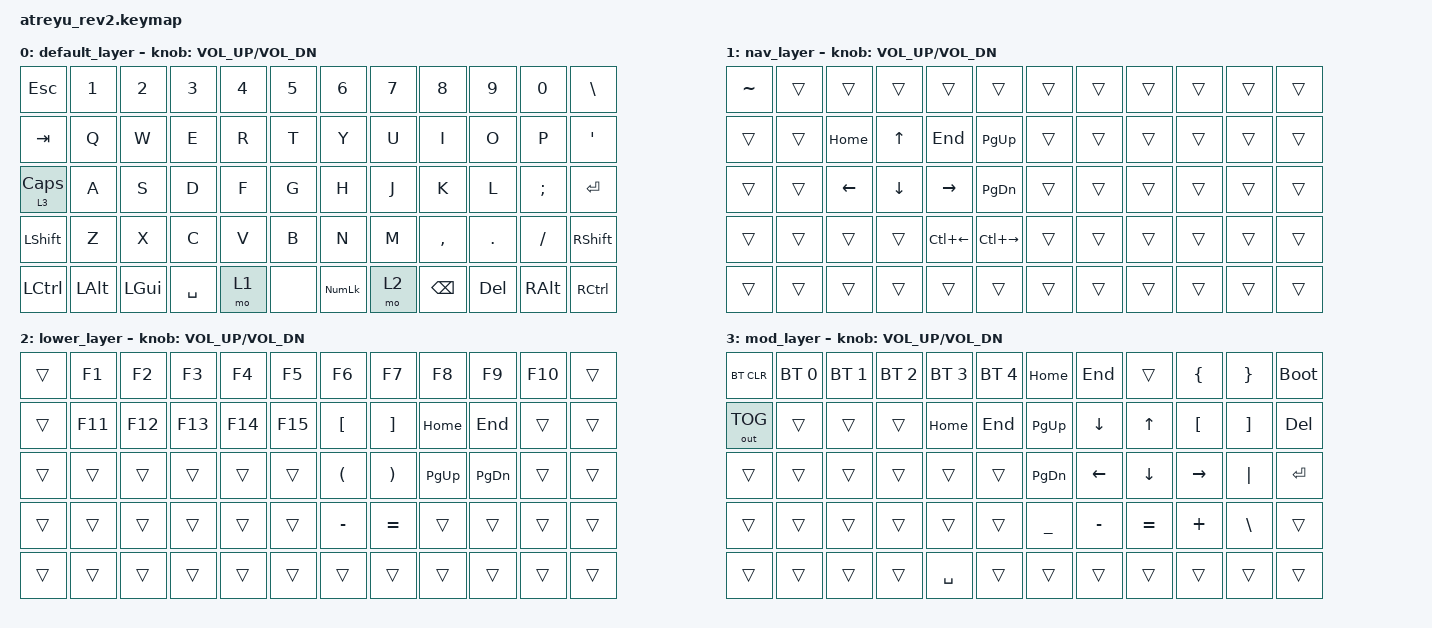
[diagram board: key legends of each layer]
/*
 * Copyright (c) 2020 The ZMK Contributors
 *
 * SPDX-License-Identifier: MIT
 */

#include <behaviors.dtsi>
#include <dt-bindings/zmk/bt.h>
#include <dt-bindings/zmk/keys.h>
#include <dt-bindings/zmk/outputs.h>

/ {
    combos {
        compatible = "zmk,combos";

        combo_c_a_r {
            timeout-ms = <50>;
            key-positions = <31 32>;
            bindings = <&kp LC(LALT)>;
        };

        combo_c_a_l {
            timeout-ms = <50>;
            key-positions = <27 28>;
            bindings = <&kp LC(LALT)>;
        };
    };

    behaviors {
        ctrl_tab: ctrl_tab {
            compatible = "zmk,behavior-mod-morph";
            label = "GUI_CTRL_TAB";
            #binding-cells = <0>;
            bindings = <&kp LC(TAB)>, <&kp LC(LS(TAB))>;

            mods = <(MOD_LGUI)>;

            //		keep-mods = <(MOD_LGUI)>;
        };

        shiftable_tab: shiftable_tab {
            compatible = "zmk,behavior-mod-morph";
            label = "CTRL_TAB";
            #binding-cells = <0>;
            bindings = <&kp TAB >, <&ctrl_tab>;

            mods = <(MOD_LCTL)>;

            //		keep-mods = <(MOD_LCTL)>;
        };

        gresc: grave_escape {
            compatible = "zmk,behavior-mod-morph";
            label = "GRAVE_ESCAPE";
            #binding-cells = <0>;
            bindings = <&kp ESC>, <&kp GRAVE>;

            mods = <(MOD_LGUI)>;
            keep-mods = <(MOD_LGUI)>;
        };

        shiftable_gresc: shiftable_grave_escape {
            compatible = "zmk,behavior-mod-morph";
            label = "SHIFT_GRAVE_ESCAPE";
            #binding-cells = <0>;
            bindings = <&kp ESC>, <&kp LS(GRAVE)>;

            mods = <(MOD_LGUI)>;
            keep-mods = <(MOD_LGUI)>;
        };
    };

    //        sensors: sensors {
    //            compatible = "zmk,keymap-sensors";
    //            sensors = <&left_encoder>;
    //            triggers-per-rotation = <36>;
    //        };

    keymap {
        compatible = "zmk,keymap";

        default_layer {
            bindings = <
&kp ESCAPE      &kp N1        &kp N2        &kp N3     &kp N4  &kp N5  &kp N6          &kp N7  &kp N8         &kp N9      &kp N0         &kp BACKSLASH
&kp TAB         &kp Q         &kp W         &kp E      &kp R   &kp T   &kp Y           &kp U   &kp I          &kp O       &kp P          &kp SINGLE_QUOTE
&lt 3 CAPSLOCK  &kp A         &kp S         &kp D      &kp F   &kp G   &kp H           &kp J   &kp K          &kp L       &kp SEMI       &kp ENTER
&kp LSHFT       &kp Z         &kp X         &kp C      &kp V   &kp B   &kp N           &kp M   &kp COMMA      &kp DOT     &kp FSLH       &kp RSHFT
&kp LCTRL       &kp LEFT_ALT  &kp LEFT_GUI  &kp SPACE  &mo 1   &none   &kp KP_NUMLOCK  &mo 2   &kp BACKSPACE  &kp DELETE  &kp RIGHT_ALT  &kp RCTRL
            >;

            //sensor-bindings = <&inc_dec_kp C_VOL_UP C_VOL_DN &inc_dec_kp PG_UP PG_DN>;

            sensor-bindings = <&inc_dec_kp C_VOL_UP C_VOL_DN>;
        };

        nav_layer {
            bindings = <
&kp TILDE  &trans  &trans    &trans    &trans        &trans         &trans  &trans  &trans  &trans  &trans  &trans
&trans     &trans  &kp HOME  &kp UP    &kp END       &kp PG_UP      &trans  &trans  &trans  &trans  &trans  &trans
&trans     &trans  &kp LEFT  &kp DOWN  &kp RIGHT     &kp PG_DN      &trans  &trans  &trans  &trans  &trans  &trans
&trans     &trans  &trans    &trans    &kp LC(LEFT)  &kp LC(RIGHT)  &trans  &trans  &trans  &trans  &trans  &trans
&trans     &trans  &trans    &trans    &trans        &trans         &trans  &trans  &trans  &trans  &trans  &trans
            >;

            //sensor-bindings = <&inc_dec_kp C_VOL_UP C_VOL_DN &inc_dec_kp PG_UP PG_DN>;

            sensor-bindings = <&inc_dec_kp C_VOL_UP C_VOL_DN>;
        };

        lower_layer {
            bindings = <
&trans  &kp F1   &kp F2   &kp F3   &kp F4   &kp F5   &kp F6                &kp F7                 &kp F8       &kp F9         &kp F10  &trans
&trans  &kp F11  &kp F12  &kp F13  &kp F14  &kp F15  &kp LEFT_BRACKET      &kp RIGHT_BRACKET      &kp HOME     &kp END        &trans   &trans
&trans  &trans   &trans   &trans   &trans   &trans   &kp LEFT_PARENTHESIS  &kp RIGHT_PARENTHESIS  &kp PAGE_UP  &kp PAGE_DOWN  &trans   &trans
&trans  &trans   &trans   &trans   &trans   &trans   &kp MINUS             &kp EQUAL              &trans       &trans         &trans   &trans
&trans  &trans   &trans   &trans   &trans   &trans   &trans                &trans                 &trans       &trans         &trans   &trans
            >;

            //sensor-bindings = <&inc_dec_kp C_VOL_UP C_VOL_DN &inc_dec_kp PG_UP PG_DN>;

            sensor-bindings = <&inc_dec_kp C_VOL_UP C_VOL_DN>;
        };

        mod_layer {
            bindings = <
&bt BT_CLR    &bt BT_SEL 0  &bt BT_SEL 1  &bt BT_SEL 2  &bt BT_SEL 3  &bt BT_SEL 4  &kp HOME   &kp END    &trans     &kp LBRC   &kp RBRC  &bootloader
&out OUT_TOG  &trans        &trans        &trans        &kp HOME      &kp END       &kp PG_UP  &kp DOWN   &kp UP     &kp LBKT   &kp RBKT  &kp DEL
&trans        &trans        &trans        &trans        &trans        &trans        &kp PG_DN  &kp LEFT   &kp DOWN   &kp RIGHT  &kp PIPE  &kp RET
&trans        &trans        &trans        &trans        &trans        &trans        &kp UNDER  &kp MINUS  &kp EQUAL  &kp PLUS   &kp BSLH  &trans
&trans        &trans        &trans        &trans        &kp SPACE     &trans        &trans     &trans     &trans     &trans     &trans    &trans
            >;

            //sensor-bindings = <&inc_dec_kp C_VOL_UP C_VOL_DN &inc_dec_kp PG_UP PG_DN>;

            sensor-bindings = <&inc_dec_kp C_VOL_UP C_VOL_DN>;
        };

        //  [_COLEMAK] = LAYOUT( \
//       KC_ESC,   KC_1,    KC_2,    KC_3,    KC_4,    KC_5,                       KC_6,    KC_7,    KC_8,    KC_9,    KC_0,    KC_GRV,
        //       KC_TAB,   KC_Q,    KC_W,    KC_F,    KC_P,    KC_G,                       KC_J,    KC_L,    KC_U,    KC_Y,    KC_SCLN, KC_BSPC,
        //       KC_LCTL,  KC_A,    KC_R,    KC_S,    KC_T,    KC_D,                       KC_H,    KC_N,    KC_E,    KC_I,    KC_O,    LT(_SYM,KC_QUOT),
        //       KC_LSFT,  KC_Z,    KC_X,    KC_C,    KC_V,    KC_B,                       KC_K,    KC_M,    KC_COMM, KC_DOT,  KC_SLSH, KC_RSFT,
        //       NAV,      LWR,     KC_LALT, KC_LGUI, KC_ENT,  KC_LBRC,                    KC_RBRC, KC_SPC,  RSE,     NAV,  KC_NUM,  KC_RCTL
        //  ),
    };
};
